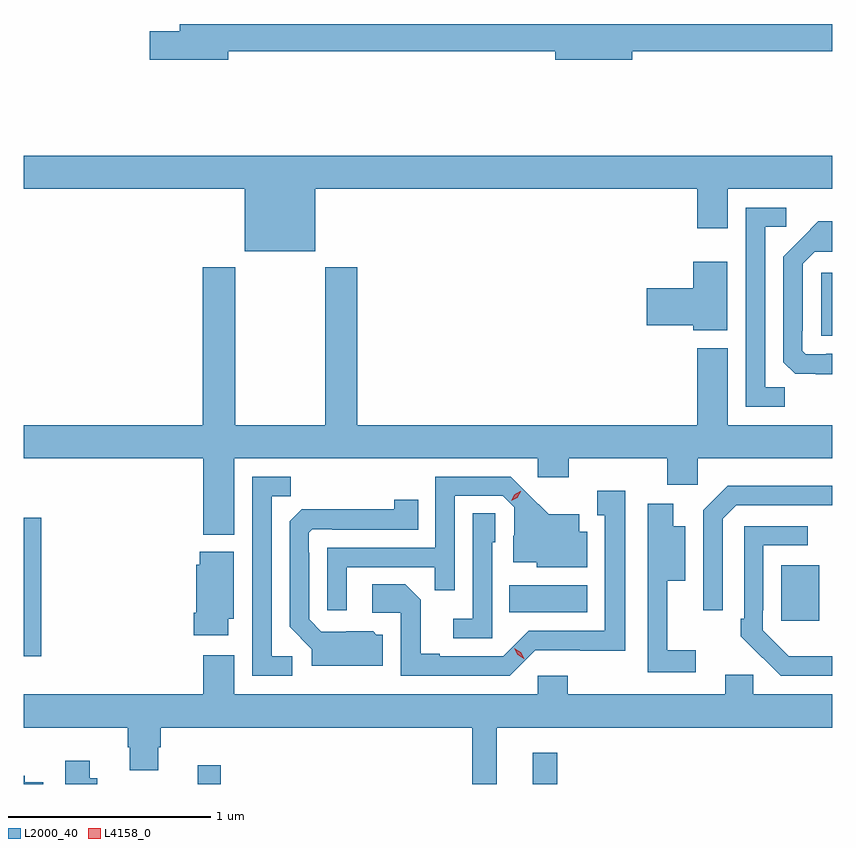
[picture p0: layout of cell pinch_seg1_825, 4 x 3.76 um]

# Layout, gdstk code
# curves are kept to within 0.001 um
import gdstk
lib = gdstk.Library(unit=1e-6, precision=1e-09)
def R(c, l, rs):  # rectangles x0, y0, x1, y1
    for r in rs: c.add(gdstk.rectangle(r[:2], r[2:], *l))
def P(c, l, *ps):  # polygons
    for p in ps: c.add(gdstk.Polygon(p, *l))
L2000_40 = (2000, 40)
L4158_0 = (4158, 0)

pinch_seg1_825 = lib.new_cell('pinch_seg1_825')
R(pinch_seg1_825, L2000_40, [(481.035,576.761,481.151,576.853), (482.693,576.761,482.815,576.916), (480.175,577.392,480.263,578.077), (483.923,577.569,484.111,577.843), (482.578,577.61,482.962,577.744), (484.119,578.979,484.175,579.289)])
P(pinch_seg1_825, L2000_40, [(481.186,580.384),(482.804,580.384),(482.804,580.342),(483.184,580.342),(483.184,580.384),(484.175,580.384),(484.175,580.52),(480.947,580.52),(480.947,580.484),(480.798,580.484),(480.798,580.342),(481.186,580.342)],
  [(481.618,579.704),(483.506,579.704),(483.506,579.51),(483.658,579.51),(483.658,579.704),(484.175,579.704),(484.175,579.868),(480.175,579.868),(480.175,579.704),(481.268,579.704),(481.268,579.395),(481.618,579.395)],
  [(483.939,578.723),(483.843,578.723),(483.843,579.516),(483.946,579.516),(483.946,579.612),(483.747,579.612),(483.747,578.628),(483.939,578.628)],
  [(484.175,578.889),(484.144,578.889),(484.144,578.886),(484.044,578.886),(484.026,578.904),(484.026,579.004),(484.029,579.004),(484.029,579.333),(484.089,579.393),(484.175,579.393),(484.175,579.544),(484.105,579.544),(483.933,579.37),(483.933,578.848),(483.992,578.789),(484.175,578.788)],
  [(483.655,579.343),(483.488,579.343),(483.488,579.212),(483.258,579.212),(483.258,579.029),(483.488,579.029),(483.488,579.005),(483.655,579.005)],
  [(481.216,578.372),(482.718,578.372),(482.718,578.277),(482.87,578.277),(482.87,578.372),(483.359,578.372),(483.359,578.241),(483.51,578.241),(483.51,578.372),(484.175,578.372),(484.175,578.536),(483.658,578.536),(483.658,578.917),(483.506,578.917),(483.506,578.536),(481.826,578.536),(481.826,579.316),(481.666,579.316),(481.666,578.536),(481.221,578.536),(481.221,579.316),(481.061,579.316),(481.061,578.536),(480.175,578.536),(480.175,578.372),(481.064,578.372),(481.064,577.994),(481.216,577.994)],
  [(481.773,577.833),(482.209,577.833),(482.209,577.72),(482.307,577.72),(482.307,578.187),(482.544,578.187),(482.601,578.13),(482.601,577.988),(482.597,577.988),(482.597,577.859),(482.712,577.859),(482.712,577.832),(482.962,577.832),(482.962,578.008),(482.923,578.008),(482.923,578.095),(482.771,578.095),(482.584,578.28),(482.211,578.28),(482.211,577.929),(481.677,577.929),(481.677,577.62),(481.773,577.62)],
  [(481.504,577.392),(481.401,577.392),(481.401,578.185),(481.497,578.185),(481.497,578.28),(481.305,578.28),(481.305,577.296),(481.504,577.296)],
  [(483.633,578.073),(483.699,578.139),(484.175,578.139),(484.175,578.236),(483.658,578.236),(483.537,578.115),(483.537,577.62),(483.633,577.62)],
  [(482.706,577.422),(483.151,577.421),(483.151,578.212),(483.011,578.212),(483.011,578.091),(483.05,578.091),(483.05,577.518),(482.673,577.518),(482.547,577.392),(482.233,577.392),(482.233,577.405),(482.139,577.405),(482.139,577.672),(482.063,577.748),(481.899,577.748),(481.899,577.608),(482.04,577.608),(482.04,577.296),(482.58,577.296)],
  [(481.951,577.5),(481.92,577.5),(481.904,577.516),(481.647,577.515),(481.587,577.575),(481.587,577.904),(481.584,577.904),(481.584,578.004),(481.602,578.022),(481.702,578.022),(481.702,578.019),(482.126,578.019),(482.126,578.167),(482.008,578.167),(482.008,578.12),(481.55,578.119),(481.491,578.06),(481.491,577.538),(481.601,577.428),(481.601,577.346),(481.951,577.346)],
  [(483.499,577.423),(483.359,577.423),(483.359,577.766),(483.448,577.766),(483.448,578.035),(483.388,578.035),(483.388,578.146),(483.261,578.146),(483.261,577.314),(483.499,577.314)],
  [(482.493,577.956),(482.508,577.956),(482.508,578.099),(482.397,578.099),(482.397,577.579),(482.301,577.579),(482.301,577.482),(482.493,577.482)],
  [(484.175,577.392),(483.96,577.393),(483.831,577.521),(483.831,577.621),(483.834,577.621),(483.834,577.941),(484.054,577.941),(484.054,578.037),(483.738,578.037),(483.738,577.579),(483.723,577.579),(483.723,577.491),(483.92,577.296),(484.175,577.296)],
  [(481.186,577.578),(481.213,577.578),(481.213,577.909),(481.046,577.909),(481.046,577.845),(481.028,577.845),(481.028,577.609),(481.016,577.609),(481.016,577.497),(481.186,577.497)],
  [(482.515,577.04),(484.175,577.04),(484.175,577.204),(483.783,577.204),(483.783,577.302),(483.644,577.302),(483.644,577.204),(482.865,577.204),(482.865,577.297),(482.718,577.297),(482.718,577.204),(481.216,577.204),(481.216,577.399),(481.064,577.399),(481.064,577.204),(480.175,577.204),(480.175,577.04),(480.689,577.04),(480.689,576.942),(480.701,576.942),(480.701,576.828),(480.841,576.828),(480.841,576.942),(480.854,576.942),(480.854,577.04),(482.394,577.04),(482.394,576.761),(482.515,576.761)],
  [(480.538,576.79),(480.502,576.79),(480.502,576.877),(480.38,576.877),(480.38,576.761),(480.538,576.761)],
  [(480.273,576.769),(480.181,576.769),(480.181,576.802),(480.175,576.802),(480.175,576.761),(480.273,576.761)])
P(pinch_seg1_825, L4158_0, [(482.649,577.38),(482.618,577.4),(482.601,577.432),(482.601,577.433),(482.601,577.433),(482.633,577.413),(482.65,577.38),(482.65,577.38)],
  [(482.586,578.162),(482.586,578.162),(482.602,578.192),(482.632,578.208),(482.633,578.208),(482.633,578.207),(482.616,578.178),(482.586,578.162)])

lib.write_gds('pinch_seg1_825.gds')
